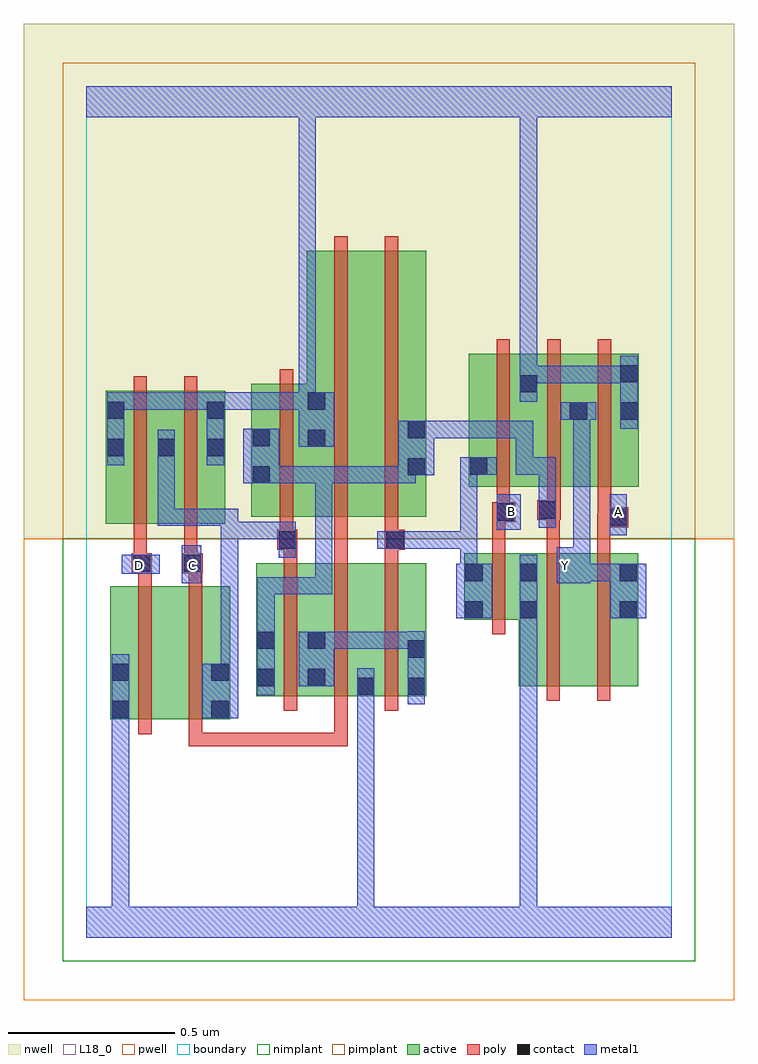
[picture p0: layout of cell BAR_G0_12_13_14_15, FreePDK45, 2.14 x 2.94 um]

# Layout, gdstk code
import gdstk
lib = gdstk.Library(unit=1e-6, precision=1e-09)
def R(c, l, rs):  # rectangles x0, y0, x1, y1
    for r in rs: c.add(gdstk.rectangle(r[:2], r[2:], *l))
def A(c, l, x, y, w, h, nx, ny, dx, dy):  # array of equal rectangles
    R(c, l, [(x+i*dx, y+j*dy, x+i*dx+w, y+j*dy+h) for i in range(nx) for j in range(ny)])
active = (1, 0)
pwell = (2, 0)
nwell = (3, 0)
nimplant = (4, 0)
pimplant = (5, 0)
poly = (9, 0)
contact = (10, 0)
metal1 = (11, 0)
L18_0 = (18, 0)
boundary = (235, 0)

bar_g0_12_13_14_15 = lib.new_cell('BAR_G0_12_13_14_15')
R(bar_g0_12_13_14_15, active, [(0.072,0.656,0.132,1.056), (0.072,0.656,0.252,1.056), (0.252,0.656,0.432,1.056), (0.372,0.656,0.432,1.056), (0.51,0.726,0.57,1.126), (0.51,0.726,0.722,1.126), (0.662,0.726,0.87,1.126), (0.662,0.726,0.722,0.924), (0.81,0.726,1.022,1.126), (0.81,0.726,0.87,0.786), (0.962,0.726,1.022,1.126), (1.3,0.756,1.48,1.156), (1.3,0.756,1.36,1.128), (1.48,0.756,1.66,1.156), (1.6,0.756,1.66,1.156), (1.136,0.956,1.36,1.156), (1.136,0.956,1.196,1.156), (0.058,1.244,0.118,1.644), (0.058,1.244,0.27,1.644), (0.21,1.244,0.27,1.644), (0.21,1.244,0.418,1.644), (0.358,1.244,0.418,1.644), (0.496,1.266,0.722,1.666), (0.496,1.266,0.556,1.644), (0.662,1.266,0.842,2.066), (0.842,1.266,1.022,2.066), (0.962,1.266,1.022,2.044), (1.15,1.356,1.21,1.756), (1.15,1.356,1.36,1.756), (1.3,1.356,1.36,1.756), (1.3,1.356,1.51,1.756), (1.45,1.356,1.662,1.756), (1.602,1.356,1.662,1.756), (0.662,1.472,0.722,1.644), (1.45,1.554,1.51,1.644)])
R(bar_g0_12_13_14_15, pwell, [(-0.188,-0.188,1.948,1.2)])
R(bar_g0_12_13_14_15, nwell, [(-0.188,1.2,1.948,2.748)])
R(bar_g0_12_13_14_15, nimplant, [(-0.072,-0.072,1.832,1.2)])
R(bar_g0_12_13_14_15, pimplant, [(-0.072,1.2,1.832,2.632)])
A(bar_g0_12_13_14_15, poly, 0.594, 0.682, 0.04, 0.488, 3, 1, 0.152, 0)
A(bar_g0_12_13_14_15, poly, 0.594, 1.13, 0.04, 0.076, 3, 1, 0.152, 0)
A(bar_g0_12_13_14_15, poly, 1.234, 1.312, 0.04, 0.488, 3, 1, 0.152, 0)
R(bar_g0_12_13_14_15, poly, [(0.308,0.576,0.348,0.616), (0.308,0.576,0.348,0.616), (0.308,0.576,0.348,0.616), (0.308,0.576,0.348,0.652), (0.308,0.576,0.68,0.616), (0.64,0.576,0.68,0.616), (0.64,0.576,0.68,0.616), (0.64,0.576,0.68,0.616), (0.64,0.576,0.786,0.616), (0.746,0.576,0.786,0.616), (0.746,0.576,0.786,0.616), (0.746,0.576,0.786,0.616), (0.746,0.576,0.786,0.722), (0.156,0.612,0.196,1.1), (0.308,0.612,0.348,1.1), (1.384,0.712,1.424,1.2), (1.536,0.712,1.576,1.2), (1.22,0.912,1.26,1.2), (0.156,1.06,0.196,1.136), (0.308,1.06,0.348,1.136), (0.136,1.096,0.196,1.156), (0.29,1.096,0.35,1.156), (0.142,1.116,0.182,1.156), (0.142,1.116,0.182,1.156), (0.142,1.116,0.182,1.24), (0.294,1.116,0.334,1.156), (0.294,1.116,0.334,1.156), (0.294,1.116,0.334,1.24), (1.22,1.16,1.26,1.29), (1.384,1.16,1.424,1.296), (1.536,1.16,1.576,1.274), (0.574,1.166,0.634,1.226), (0.594,1.166,0.634,1.206), (0.594,1.166,0.634,1.206), (0.746,1.166,0.786,1.206), (0.746,1.166,0.786,1.206), (0.746,1.166,0.786,1.206), (0.746,1.166,0.786,1.262), (0.898,1.166,0.958,1.226), (0.582,1.186,0.622,1.262), (0.898,1.186,0.938,1.226), (0.898,1.186,0.938,1.226), (0.898,1.186,0.938,1.262), (0.142,1.2,0.182,1.688), (0.294,1.2,0.334,1.688), (0.582,1.222,0.622,1.71), (0.746,1.222,0.786,2.11), (0.898,1.222,0.938,2.11), (1.536,1.234,1.578,1.274), (1.538,1.234,1.578,1.274), (1.538,1.234,1.63,1.294), (1.22,1.25,1.29,1.31), (1.538,1.254,1.578,1.352), (1.356,1.256,1.426,1.316), (1.384,1.256,1.424,1.296), (1.384,1.256,1.424,1.296), (1.234,1.27,1.274,1.31), (1.234,1.27,1.274,1.31), (1.234,1.27,1.274,1.352), (1.386,1.276,1.426,1.352)])
R(bar_g0_12_13_14_15, contact, [(0.076,0.66,0.128,0.712), (0.376,0.66,0.428,0.712), (0.814,0.73,0.866,0.782), (0.966,0.73,1.018,0.782), (0.514,0.756,0.566,0.808), (0.666,0.756,0.718,0.808), (0.076,0.772,0.128,0.824), (0.376,0.772,0.428,0.824), (0.966,0.842,1.018,0.894), (0.514,0.868,0.566,0.92), (0.666,0.868,0.718,0.92), (1.14,0.96,1.192,1.012), (1.304,0.96,1.356,1.012), (1.604,0.96,1.656,1.012), (1.14,1.072,1.192,1.124), (1.304,1.072,1.356,1.124), (1.604,1.072,1.656,1.124), (0.14,1.1,0.192,1.152), (0.294,1.1,0.346,1.152), (0.578,1.17,0.63,1.222), (0.902,1.17,0.954,1.222), (1.574,1.238,1.626,1.29), (1.234,1.254,1.286,1.306), (1.36,1.26,1.412,1.312), (0.5,1.366,0.552,1.418), (0.966,1.39,1.018,1.442), (1.154,1.392,1.206,1.444), (0.062,1.448,0.114,1.5), (0.214,1.448,0.266,1.5), (0.362,1.448,0.414,1.5), (0.666,1.476,0.718,1.528), (0.5,1.478,0.552,1.53), (0.966,1.502,1.018,1.554), (1.454,1.558,1.506,1.61), (1.606,1.558,1.658,1.61), (0.062,1.56,0.114,1.612), (0.362,1.56,0.414,1.612), (0.666,1.588,0.718,1.64), (1.304,1.64,1.356,1.692), (1.606,1.67,1.658,1.722)])
R(bar_g0_12_13_14_15, metal1, [(0,0,1.76,0.092), (0.076,0.04,0.128,0.092), (0.076,0.04,0.128,0.092), (0.076,0.04,0.128,0.092), (0.076,0.04,0.128,0.092), (0.076,0.04,0.128,0.092), (0.076,0.04,0.128,0.092), (0.076,0.04,0.128,0.092), (0.076,0.04,0.128,0.092), (0.076,0.04,0.128,0.092), (0.076,0.04,0.128,0.092), (0.076,0.04,0.128,0.092), (0.076,0.04,0.128,0.092), (0.076,0.04,0.128,0.684), (0.814,0.04,0.866,0.092), (0.814,0.04,0.866,0.092), (0.814,0.04,0.866,0.092), (0.814,0.04,0.866,0.092), (0.814,0.04,0.866,0.092), (0.814,0.04,0.866,0.092), (0.814,0.04,0.866,0.754), (1.304,0.04,1.356,0.092), (1.304,0.04,1.356,0.092), (1.304,0.04,1.356,0.092), (1.304,0.04,1.356,0.092), (1.304,0.04,1.356,0.092), (1.304,0.04,1.356,0.092), (1.304,0.04,1.356,0.092), (1.304,0.04,1.356,0.092), (1.304,0.04,1.356,0.092), (1.304,0.04,1.356,0.092), (1.304,0.04,1.356,0.092), (1.304,0.04,1.356,0.092), (1.304,0.04,1.356,0.984), (0.076,0.632,0.128,0.852), (0.348,0.66,0.456,0.824), (0.814,0.702,0.866,0.754), (0.814,0.702,0.866,0.754), (0.814,0.702,0.866,0.754), (0.814,0.702,0.866,0.754), (0.814,0.702,0.866,0.754), (0.814,0.702,0.866,0.754), (0.814,0.702,0.866,0.81), (0.966,0.702,1.018,0.922), (0.514,0.728,0.566,0.948), (0.638,0.756,0.746,0.92), (0.404,0.772,0.456,1.25), (0.694,0.868,0.746,0.92), (0.694,0.868,0.746,0.92), (0.694,0.868,0.856,0.92), (0.804,0.868,0.856,0.92), (0.804,0.868,1.018,0.92), (0.966,0.868,1.018,0.92), (0.966,0.868,1.018,0.92), (0.514,0.896,0.566,1.084), (1.304,0.932,1.356,1.152), (1.112,0.96,1.22,1.124), (1.576,0.96,1.684,1.124), (0.514,1.032,0.566,1.084), (0.514,1.032,0.566,1.084), (0.514,1.032,0.566,1.084), (0.514,1.032,0.74,1.084), (0.688,1.032,0.74,1.084), (0.688,1.032,0.74,1.084), (0.688,1.032,0.74,1.084), (0.688,1.032,0.74,1.418), (0.286,1.066,0.346,1.18), (1.414,1.066,1.516,1.174), (1.124,1.072,1.176,1.222), (1.464,1.072,1.628,1.124), (1.576,1.072,1.628,1.124), (1.576,1.072,1.628,1.124), (1.576,1.072,1.628,1.124), (1.576,1.072,1.628,1.124), (0.106,1.094,0.22,1.152), (1.464,1.122,1.516,1.174), (1.464,1.122,1.516,1.174), (1.464,1.122,1.516,1.61), (0.578,1.142,0.63,1.25), (0.874,1.17,0.982,1.222), (0.93,1.17,0.982,1.222), (0.93,1.17,0.982,1.222), (0.93,1.17,1.176,1.222), (1.124,1.17,1.176,1.222), (1.124,1.17,1.176,1.222), (1.124,1.17,1.176,1.222), (1.124,1.17,1.176,1.444), (0.404,1.198,0.456,1.25), (0.404,1.198,0.456,1.25), (0.404,1.198,0.456,1.25), (0.404,1.198,0.456,1.25), (0.404,1.198,0.63,1.25), (0.404,1.198,0.456,1.29), (1.574,1.21,1.626,1.334), (1.234,1.226,1.306,1.334), (1.36,1.232,1.412,1.444), (0.214,1.238,0.266,1.29), (0.214,1.238,0.346,1.29), (0.214,1.238,0.266,1.472), (0.294,1.238,0.346,1.29), (0.294,1.238,0.456,1.29), (0.472,1.366,0.58,1.53), (0.528,1.366,0.58,1.418), (0.528,1.366,0.58,1.418), (0.528,1.366,0.74,1.418), (0.688,1.366,0.74,1.418), (0.688,1.366,0.74,1.418), (0.688,1.366,0.74,1.418), (0.688,1.366,0.856,1.418), (0.804,1.366,0.856,1.418), (0.804,1.366,0.99,1.418), (0.938,1.366,0.99,1.442), (0.938,1.39,0.99,1.442), (0.938,1.39,1.046,1.554), (1.124,1.392,1.234,1.444), (1.292,1.392,1.344,1.444), (1.292,1.392,1.344,1.444), (1.292,1.392,1.344,1.444), (1.292,1.392,1.412,1.444), (1.292,1.392,1.344,1.554), (0.062,1.42,0.114,1.64), (0.214,1.42,0.266,1.528), (0.362,1.42,0.414,1.64), (0.638,1.476,0.746,1.64), (0.994,1.502,1.046,1.554), (0.994,1.502,1.046,1.554), (0.994,1.502,1.156,1.554), (1.104,1.502,1.156,1.554), (1.104,1.502,1.156,1.554), (1.104,1.502,1.156,1.554), (1.104,1.502,1.344,1.554), (1.292,1.502,1.344,1.554), (1.606,1.53,1.658,1.75), (1.426,1.558,1.534,1.61), (0.062,1.588,0.114,1.64), (0.062,1.588,0.114,1.64), (0.062,1.588,0.29,1.64), (0.238,1.588,0.29,1.64), (0.238,1.588,0.29,1.64), (0.238,1.588,0.29,1.64), (0.238,1.588,0.414,1.64), (0.362,1.588,0.414,1.64), (0.362,1.588,0.414,1.64), (0.362,1.588,0.414,1.64), (0.362,1.588,0.414,1.64), (0.362,1.588,0.566,1.64), (0.514,1.588,0.566,1.64), (0.514,1.588,0.566,1.64), (0.514,1.588,0.566,1.64), (0.514,1.588,0.566,1.64), (0.514,1.588,0.566,1.64), (0.514,1.588,0.566,1.64), (0.514,1.588,0.566,1.64), (0.514,1.588,0.69,1.64), (0.638,1.588,0.69,2.52), (1.304,1.612,1.356,1.72), (1.304,1.668,1.516,1.72), (1.304,1.668,1.356,2.52), (1.464,1.668,1.516,1.72), (1.464,1.668,1.516,1.72), (1.464,1.668,1.516,1.72), (1.464,1.668,1.658,1.72), (1.606,1.668,1.658,1.72), (1.606,1.668,1.658,1.72), (0,2.468,1.76,2.56), (0.638,2.468,0.69,2.52), (0.638,2.468,0.69,2.52), (0.638,2.468,0.69,2.52), (0.638,2.468,0.69,2.52), (0.638,2.468,0.69,2.52), (0.638,2.468,0.69,2.52), (0.638,2.468,0.69,2.52), (0.638,2.468,0.69,2.52), (1.304,2.468,1.356,2.52), (1.304,2.468,1.356,2.52), (1.304,2.468,1.356,2.52), (1.304,2.468,1.356,2.52), (1.304,2.468,1.356,2.52), (1.304,2.468,1.356,2.52), (1.304,2.468,1.356,2.52), (1.304,2.468,1.356,2.52), (1.304,2.468,1.356,2.52), (1.304,2.468,1.356,2.52), (1.304,2.468,1.356,2.52), (1.304,2.468,1.356,2.52), (1.304,2.468,1.356,2.52), (1.304,2.468,1.356,2.52), (1.304,2.468,1.356,2.52), (1.304,2.468,1.356,2.52)])
R(bar_g0_12_13_14_15, L18_0, [(0,0,1.76,0.092), (0.076,0.04,0.128,0.092), (0.076,0.04,0.128,0.092), (0.076,0.04,0.128,0.092), (0.076,0.04,0.128,0.092), (0.076,0.04,0.128,0.092), (0.076,0.04,0.128,0.092), (0.076,0.04,0.128,0.092), (0.076,0.04,0.128,0.092), (0.076,0.04,0.128,0.092), (0.076,0.04,0.128,0.092), (0.076,0.04,0.128,0.092), (0.076,0.04,0.128,0.092), (0.076,0.04,0.128,0.684), (0.814,0.04,0.866,0.092), (0.814,0.04,0.866,0.092), (0.814,0.04,0.866,0.092), (0.814,0.04,0.866,0.092), (0.814,0.04,0.866,0.092), (0.814,0.04,0.866,0.092), (0.814,0.04,0.866,0.754), (1.304,0.04,1.356,0.092), (1.304,0.04,1.356,0.092), (1.304,0.04,1.356,0.092), (1.304,0.04,1.356,0.092), (1.304,0.04,1.356,0.092), (1.304,0.04,1.356,0.092), (1.304,0.04,1.356,0.092), (1.304,0.04,1.356,0.092), (1.304,0.04,1.356,0.092), (1.304,0.04,1.356,0.092), (1.304,0.04,1.356,0.092), (1.304,0.04,1.356,0.092), (1.304,0.04,1.356,0.984), (0.076,0.632,0.128,0.852), (0.814,0.702,0.866,0.754), (0.814,0.702,0.866,0.754), (0.814,0.702,0.866,0.754), (0.814,0.702,0.866,0.754), (0.814,0.702,0.866,0.754), (0.814,0.702,0.866,0.754), (0.814,0.702,0.866,0.81), (1.304,0.932,1.356,1.152), (1.576,0.96,1.684,1.124), (0.286,1.066,0.346,1.18), (1.414,1.066,1.516,1.174), (1.464,1.072,1.628,1.124), (1.576,1.072,1.628,1.124), (1.576,1.072,1.628,1.124), (1.576,1.072,1.628,1.124), (1.576,1.072,1.628,1.124), (0.106,1.094,0.22,1.152), (0.134,1.094,0.186,1.146), (0.294,1.094,0.346,1.146), (1.414,1.094,1.466,1.146), (1.464,1.122,1.516,1.174), (1.464,1.122,1.516,1.174), (1.464,1.122,1.516,1.61), (1.574,1.21,1.626,1.334), (1.234,1.226,1.306,1.334), (1.254,1.254,1.306,1.306), (1.574,1.254,1.626,1.306), (0.062,1.42,0.114,1.64), (0.362,1.42,0.414,1.64), (0.638,1.476,0.746,1.64), (1.606,1.53,1.658,1.75), (1.426,1.558,1.534,1.61), (0.062,1.588,0.114,1.64), (0.062,1.588,0.114,1.64), (0.062,1.588,0.29,1.64), (0.238,1.588,0.29,1.64), (0.238,1.588,0.29,1.64), (0.238,1.588,0.29,1.64), (0.238,1.588,0.414,1.64), (0.362,1.588,0.414,1.64), (0.362,1.588,0.414,1.64), (0.362,1.588,0.414,1.64), (0.362,1.588,0.414,1.64), (0.362,1.588,0.566,1.64), (0.514,1.588,0.566,1.64), (0.514,1.588,0.566,1.64), (0.514,1.588,0.566,1.64), (0.514,1.588,0.566,1.64), (0.514,1.588,0.566,1.64), (0.514,1.588,0.566,1.64), (0.514,1.588,0.566,1.64), (0.514,1.588,0.69,1.64), (0.638,1.588,0.69,2.52), (1.304,1.612,1.356,1.72), (1.304,1.668,1.356,2.52), (1.304,1.668,1.516,1.72), (1.464,1.668,1.516,1.72), (1.464,1.668,1.516,1.72), (1.464,1.668,1.516,1.72), (1.464,1.668,1.658,1.72), (1.606,1.668,1.658,1.72), (1.606,1.668,1.658,1.72), (0,2.468,1.76,2.56), (0.638,2.468,0.69,2.52), (0.638,2.468,0.69,2.52), (0.638,2.468,0.69,2.52), (0.638,2.468,0.69,2.52), (0.638,2.468,0.69,2.52), (0.638,2.468,0.69,2.52), (0.638,2.468,0.69,2.52), (0.638,2.468,0.69,2.52), (1.304,2.468,1.356,2.52), (1.304,2.468,1.356,2.52), (1.304,2.468,1.356,2.52), (1.304,2.468,1.356,2.52), (1.304,2.468,1.356,2.52), (1.304,2.468,1.356,2.52), (1.304,2.468,1.356,2.52), (1.304,2.468,1.356,2.52), (1.304,2.468,1.356,2.52), (1.304,2.468,1.356,2.52), (1.304,2.468,1.356,2.52), (1.304,2.468,1.356,2.52), (1.304,2.468,1.356,2.52), (1.304,2.468,1.356,2.52), (1.304,2.468,1.356,2.52), (1.304,2.468,1.356,2.52)])
R(bar_g0_12_13_14_15, boundary, [(0,0,1.76,2.56)])
bar_g0_12_13_14_15.add(gdstk.Label('A', (1.6,1.28), layer=11, texttype=0))
bar_g0_12_13_14_15.add(gdstk.Label('B', (1.28,1.28), layer=11, texttype=0))
bar_g0_12_13_14_15.add(gdstk.Label('C', (0.32,1.12), layer=11, texttype=0))
bar_g0_12_13_14_15.add(gdstk.Label('D', (0.16,1.12), layer=11, texttype=0))
bar_g0_12_13_14_15.add(gdstk.Label('Y', (1.44,1.12), layer=11, texttype=0))

lib.write_gds('BAR_G0_12_13_14_15.gds')
